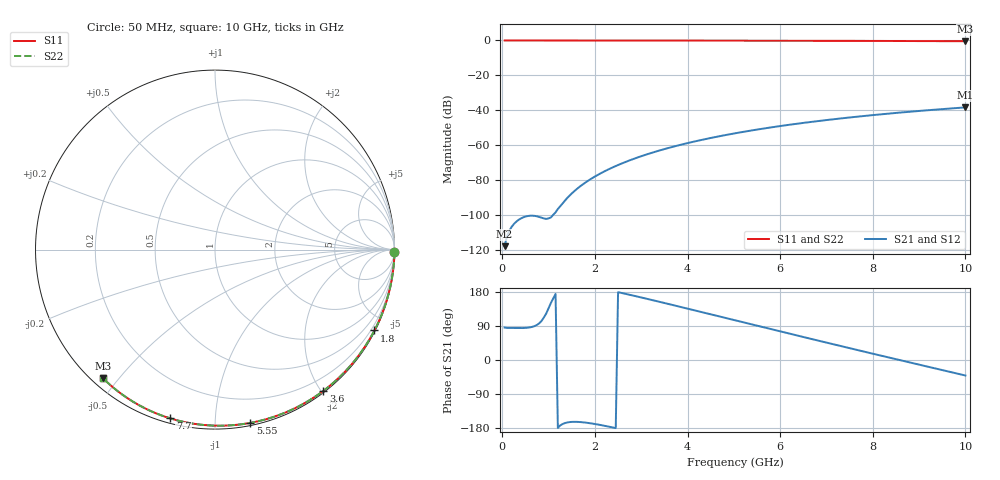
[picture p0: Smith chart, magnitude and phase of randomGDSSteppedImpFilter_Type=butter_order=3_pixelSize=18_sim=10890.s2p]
! freq	dB(S11)	phase(S11)	dB(S12)	phase(S12)
!  dB(S21)	phase(S21)	dB(S22)	phase(S22)
!S-par simulation data
#  GHz  S  DB  R 50
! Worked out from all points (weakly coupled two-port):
!   200 points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, 50 MHz to 10 GHz, reference 50 ohm
!   highest |S21| = -38.41 dB at 10 GHz (marker M1); lowest = -118.0 dB at 50 MHz (marker M2)
!   lowest |S11| = -0.4 dB at 10 GHz (marker M3), VSWR 39.09, Z = 1.54 - j22.7 ohm
!   |S11| at or under -10 dB: nowhere
!   |S22| runs from -0.4 to 0.0 dB; largest |S21 - S12| = 0
!   S11 on the Smith chart (normalised r, x): 50 MHz: open; 1.8 GHz: 0.04, -4.18; 3.6 GHz: 0.02, -2.02; 5.55 GHz: 0.02, -1.22; 7.7 GHz: 0.02, -0.77; 10 GHz: 0.03, -0.45
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0.05  -0.00 -0.8  -118.02 85.6  -118.02 85.6  -0.00 -0.8
0.9  -0.02 -13.6  -102.13 112.7  -102.13 112.7  -0.02 -13.6
1.75  -0.03 -26.2  -82.34 -164.5  -82.34 -164.5  -0.03 -26.2
1.8  -0.03 -26.9  -81.41 -165.2  -81.41 -165.2  -0.03 -26.9
1.85  -0.04 -27.6  -80.52 -166.0  -80.52 -166.0  -0.04 -27.6
1.9  -0.04 -28.3  -79.67 -166.9  -79.67 -166.9  -0.04 -28.3
2.05  -0.04 -30.5  -77.30 -169.9  -77.30 -169.9  -0.04 -30.5
2.25  -0.04 -33.4  -74.50 -174.6  -74.50 -174.6  -0.04 -33.4
2.45  -0.05 -36.3  -72.03 -179.7  -72.03 -179.7  -0.05 -36.3
2.65  -0.05 -39.2  -69.81 174.9  -69.81 174.9  -0.05 -39.2
3  -0.06 -44.2  -66.41 165.1  -66.41 165.1  -0.06 -44.2
3.4  -0.07 -49.8  -63.07 153.4  -63.07 153.4  -0.07 -49.8
3.6  -0.07 -52.6  -61.58 147.5  -61.58 147.5  -0.07 -52.6
4.3  -0.09 -62.1  -57.07 126.6  -57.07 126.6  -0.09 -62.1
5.05  -0.11 -72.1  -53.15 104.0  -53.15 104.0  -0.11 -72.1
5.55  -0.13 -78.5  -50.91 89.0  -50.91 89.0  -0.13 -78.5
6.1  -0.15 -85.5  -48.73 72.6  -48.73 72.6  -0.15 -85.5
6.7  -0.18 -92.9  -46.63 54.8  -46.63 54.8  -0.18 -92.9
7.7  -0.24 -104.9  -43.62 25.4  -43.62 25.4  -0.24 -104.9
8.35  -0.29 -112.5  -41.94 6.5  -41.94 6.5  -0.29 -112.5
9.15  -0.36 -121.6  -40.11 -16.5  -40.11 -16.5  -0.36 -121.6
10  -0.44 -131.2  -38.41 -40.9  -38.41 -40.9  -0.44 -131.2
